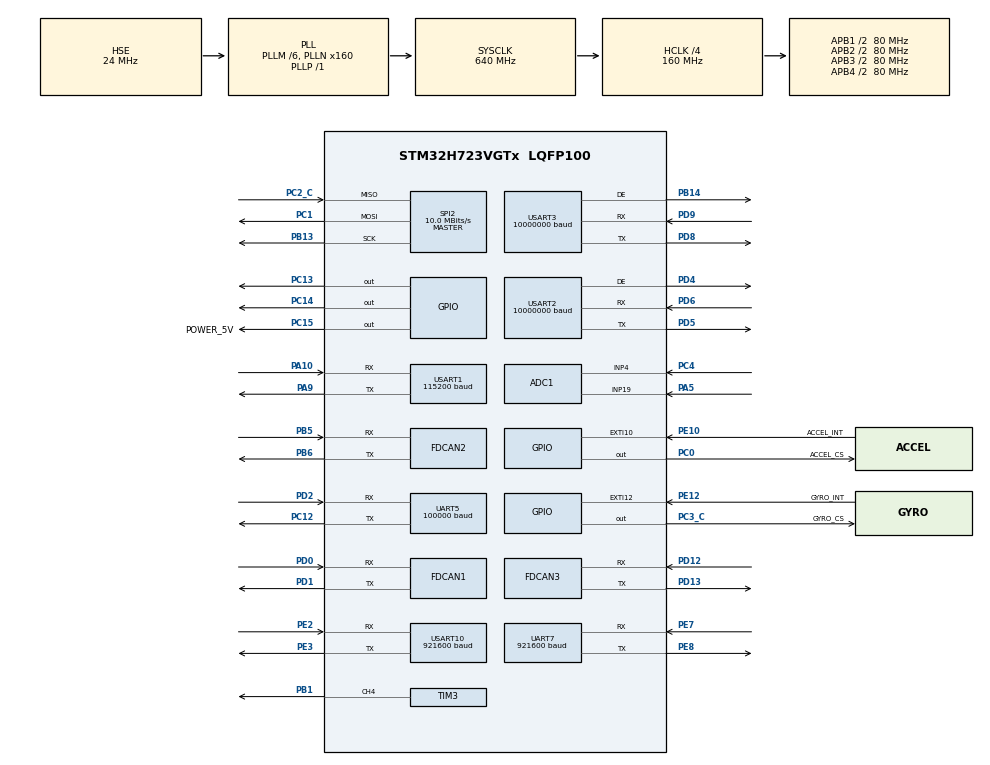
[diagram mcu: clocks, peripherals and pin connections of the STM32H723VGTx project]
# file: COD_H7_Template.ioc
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ADC1.Channel-2\#ChannelRegularConversion=ADC_CHANNEL_4
ADC1.ClockPrescaler=ADC_CLOCK_ASYNC_DIV64
ADC1.ClockPrescalerADC3=ADC_CLOCK_ASYNC_DIV64
ADC1.ContinuousConvMode=ENABLE
ADC1.ConversionDataManagement=ADC_CONVERSIONDATA_DMA_CIRCULAR
ADC1.NbrOfConversion=1
ADC1.NbrOfConversionFlag=1
ADC1.OffsetNumber-2\#ChannelRegularConversion=ADC_OFFSET_NONE
ADC1.OffsetSignedSaturation-2\#ChannelRegularConversion=DISABLE
ADC1.Rank-2\#ChannelRegularConversion=1
ADC1.SamplingTime-2\#ChannelRegularConversion=ADC_SAMPLETIME_32CYCLES_5
ADC1.master=1
ADC3.Channel-0\#ChannelRegularConversion=ADC_CHANNEL_TEMPSENSOR
ADC3.ClockPrescalerADC3=ADC_CLOCK_ASYNC_DIV64
ADC3.DiscontinuousConvMode=ENABLE
ADC3.NbrOfConversionFlag=1
ADC3.OffsetNumber-0\#ChannelRegularConversion=ADC_OFFSET_NONE
ADC3.OffsetSign-0\#ChannelRegularConversion=ADC3_OFFSET_SIGN_NEGATIVE
ADC3.Rank-0\#ChannelRegularConversion=1
ADC3.SamplingTime-0\#ChannelRegularConversion=ADC3_SAMPLETIME_2CYCLES_5
Bdma.ADC3.0.Direction=DMA_PERIPH_TO_MEMORY
Bdma.ADC3.0.EventEnable=DISABLE
Bdma.ADC3.0.Instance=BDMA_Channel0
Bdma.ADC3.0.MemDataAlignment=DMA_MDATAALIGN_HALFWORD
Bdma.ADC3.0.MemInc=DMA_MINC_ENABLE
Bdma.ADC3.0.Mode=DMA_CIRCULAR
Bdma.ADC3.0.PeriphDataAlignment=DMA_PDATAALIGN_HALFWORD
Bdma.ADC3.0.PeriphInc=DMA_PINC_DISABLE
Bdma.ADC3.0.Polarity=HAL_DMAMUX_REQ_GEN_RISING
Bdma.ADC3.0.Priority=DMA_PRIORITY_LOW
Bdma.ADC3.0.RequestNumber=1
Bdma.ADC3.0.SignalID=NONE
Bdma.ADC3.0.SyncEnable=DISABLE
Bdma.ADC3.0.SyncPolarity=HAL_DMAMUX_SYNC_NO_EVENT
Bdma.ADC3.0.SyncRequestNumber=1
Bdma.ADC3.0.SyncSignalID=NONE
Bdma.Request0=ADC3
Bdma.RequestsNb=1
CORTEX_M7.AccessPermission-Cortex_Memory_Protection_Unit_Region0_Settings=MPU_REGION_FULL_ACCESS
CORTEX_M7.AccessPermission_Spec=MPU_REGION_FULL_ACCESS
CORTEX_M7.BaseAddress-Cortex_Memory_Protection_Unit_Region0_Settings=0x24000000
CORTEX_M7.BaseAddress_Spec=0x24000000
CORTEX_M7.CPU_DCache=Enabled
CORTEX_M7.CPU_ICache=Enabled
CORTEX_M7.DisableExec_Spec=MPU_INSTRUCTION_ACCESS_ENABLE
CORTEX_M7.Enable-Cortex_Memory_Protection_Unit_Region0_Settings=MPU_REGION_ENABLE
CORTEX_M7.IsBufferable_Spec=MPU_ACCESS_NOT_BUFFERABLE
CORTEX_M7.IsCacheable_Spec=MPU_ACCESS_NOT_CACHEABLE
CORTEX_M7.IsShareable_Spec=MPU_ACCESS_NOT_SHAREABLE
CORTEX_M7.MPU_Control=MPU_HFNMI_PRIVDEF
CORTEX_M7.Size-Cortex_Memory_Protection_Unit_Region0_Settings=MPU_REGION_SIZE_512KB
CORTEX_M7.Size_Spec=MPU_REGION_SIZE_512KB
CORTEX_M7.SubRegionDisable_Spec=0x0
CORTEX_M7.TypeExtField-Cortex_Memory_Protection_Unit_Region0_Settings=MPU_TEX_LEVEL1
CORTEX_M7.TypeExtField_Spec=MPU_TEX_LEVEL1
CORTEX_M7.default_mode_Activation=1
Dma.ADC1.14.Direction=DMA_PERIPH_TO_MEMORY
Dma.ADC1.14.EventEnable=DISABLE
Dma.ADC1.14.FIFOMode=DMA_FIFOMODE_DISABLE
Dma.ADC1.14.Instance=DMA2_Stream6
Dma.ADC1.14.MemDataAlignment=DMA_MDATAALIGN_HALFWORD
Dma.ADC1.14.MemInc=DMA_MINC_ENABLE
Dma.ADC1.14.Mode=DMA_CIRCULAR
Dma.ADC1.14.PeriphDataAlignment=DMA_PDATAALIGN_HALFWORD
Dma.ADC1.14.PeriphInc=DMA_PINC_DISABLE
Dma.ADC1.14.Polarity=HAL_DMAMUX_REQ_GEN_RISING
Dma.ADC1.14.Priority=DMA_PRIORITY_LOW
Dma.ADC1.14.RequestNumber=1
Dma.ADC1.14.SignalID=NONE
Dma.ADC1.14.SyncEnable=DISABLE
Dma.ADC1.14.SyncPolarity=HAL_DMAMUX_SYNC_NO_EVENT
Dma.ADC1.14.SyncRequestNumber=1
Dma.ADC1.14.SyncSignalID=NONE
Dma.MEMTOMEM.11.Direction=DMA_MEMORY_TO_MEMORY
Dma.MEMTOMEM.11.EventEnable=DISABLE
Dma.MEMTOMEM.11.FIFOMode=DMA_FIFOMODE_ENABLE
Dma.MEMTOMEM.11.FIFOThreshold=DMA_FIFO_THRESHOLD_FULL
Dma.MEMTOMEM.11.Instance=DMA1_Stream0
Dma.MEMTOMEM.11.MemBurst=DMA_MBURST_SINGLE
Dma.MEMTOMEM.11.MemDataAlignment=DMA_MDATAALIGN_BYTE
Dma.MEMTOMEM.11.MemInc=DMA_MINC_ENABLE
Dma.MEMTOMEM.11.Mode=DMA_NORMAL
Dma.MEMTOMEM.11.PeriphBurst=DMA_PBURST_SINGLE
Dma.MEMTOMEM.11.PeriphDataAlignment=DMA_PDATAALIGN_BYTE
Dma.MEMTOMEM.11.PeriphInc=DMA_PINC_ENABLE
Dma.MEMTOMEM.11.Polarity=HAL_DMAMUX_REQ_GEN_RISING
Dma.MEMTOMEM.11.Priority=DMA_PRIORITY_LOW
Dma.MEMTOMEM.11.RequestNumber=1
Dma.MEMTOMEM.11.SignalID=NONE
Dma.MEMTOMEM.11.SyncEnable=DISABLE
Dma.MEMTOMEM.11.SyncPolarity=HAL_DMAMUX_SYNC_NO_EVENT
Dma.MEMTOMEM.11.SyncRequestNumber=1
Dma.MEMTOMEM.11.SyncSignalID=NONE
Dma.Request0=UART5_RX
Dma.Request1=SPI2_RX
Dma.Request10=USART3_TX
Dma.Request11=MEMTOMEM
Dma.Request12=USART10_RX
Dma.Request13=USART10_TX
Dma.Request14=ADC1
Dma.Request2=SPI2_TX
Dma.Request3=UART7_RX
Dma.Request4=UART7_TX
Dma.Request5=USART1_RX
Dma.Request6=USART1_TX
Dma.Request7=USART2_RX
Dma.Request8=USART2_TX
Dma.Request9=USART3_RX
Dma.SPI2_RX.1.Direction=DMA_PERIPH_TO_MEMORY
Dma.SPI2_RX.1.EventEnable=DISABLE
Dma.SPI2_RX.1.FIFOMode=DMA_FIFOMODE_DISABLE
Dma.SPI2_RX.1.Instance=DMA1_Stream1
Dma.SPI2_RX.1.MemDataAlignment=DMA_MDATAALIGN_BYTE
Dma.SPI2_RX.1.MemInc=DMA_MINC_ENABLE
Dma.SPI2_RX.1.Mode=DMA_NORMAL
Dma.SPI2_RX.1.PeriphDataAlignment=DMA_PDATAALIGN_BYTE
Dma.SPI2_RX.1.PeriphInc=DMA_PINC_DISABLE
Dma.SPI2_RX.1.Polarity=HAL_DMAMUX_REQ_GEN_RISING
Dma.SPI2_RX.1.Priority=DMA_PRIORITY_VERY_HIGH
Dma.SPI2_RX.1.RequestNumber=1
Dma.SPI2_RX.1.SignalID=NONE
Dma.SPI2_RX.1.SyncEnable=DISABLE
Dma.SPI2_RX.1.SyncPolarity=HAL_DMAMUX_SYNC_NO_EVENT
Dma.SPI2_RX.1.SyncRequestNumber=1
Dma.SPI2_RX.1.SyncSignalID=NONE
Dma.SPI2_TX.2.Direction=DMA_MEMORY_TO_PERIPH
Dma.SPI2_TX.2.EventEnable=DISABLE
Dma.SPI2_TX.2.FIFOMode=DMA_FIFOMODE_DISABLE
Dma.SPI2_TX.2.Instance=DMA1_Stream2
Dma.SPI2_TX.2.MemDataAlignment=DMA_MDATAALIGN_BYTE
Dma.SPI2_TX.2.MemInc=DMA_MINC_ENABLE
Dma.SPI2_TX.2.Mode=DMA_NORMAL
Dma.SPI2_TX.2.PeriphDataAlignment=DMA_PDATAALIGN_BYTE
Dma.SPI2_TX.2.PeriphInc=DMA_PINC_DISABLE
Dma.SPI2_TX.2.Polarity=HAL_DMAMUX_REQ_GEN_RISING
Dma.SPI2_TX.2.Priority=DMA_PRIORITY_MEDIUM
Dma.SPI2_TX.2.RequestNumber=1
Dma.SPI2_TX.2.SignalID=NONE
Dma.SPI2_TX.2.SyncEnable=DISABLE
Dma.SPI2_TX.2.SyncPolarity=HAL_DMAMUX_SYNC_NO_EVENT
Dma.SPI2_TX.2.SyncRequestNumber=1
Dma.SPI2_TX.2.SyncSignalID=NONE
Dma.UART5_RX.0.Direction=DMA_PERIPH_TO_MEMORY
Dma.UART5_RX.0.EventEnable=DISABLE
Dma.UART5_RX.0.FIFOMode=DMA_FIFOMODE_DISABLE
Dma.UART5_RX.0.Instance=DMA2_Stream3
Dma.UART5_RX.0.MemDataAlignment=DMA_MDATAALIGN_BYTE
Dma.UART5_RX.0.MemInc=DMA_MINC_ENABLE
Dma.UART5_RX.0.Mode=DMA_CIRCULAR
Dma.UART5_RX.0.PeriphDataAlignment=DMA_PDATAALIGN_BYTE
Dma.UART5_RX.0.PeriphInc=DMA_PINC_DISABLE
Dma.UART5_RX.0.Polarity=HAL_DMAMUX_REQ_GEN_RISING
Dma.UART5_RX.0.Priority=DMA_PRIORITY_VERY_HIGH
Dma.UART5_RX.0.RequestNumber=1
Dma.UART5_RX.0.SignalID=NONE
Dma.UART5_RX.0.SyncEnable=DISABLE
Dma.UART5_RX.0.SyncPolarity=HAL_DMAMUX_SYNC_NO_EVENT
Dma.UART5_RX.0.SyncRequestNumber=1
Dma.UART5_RX.0.SyncSignalID=NONE
Dma.UART7_RX.3.Direction=DMA_PERIPH_TO_MEMORY
Dma.UART7_RX.3.EventEnable=DISABLE
Dma.UART7_RX.3.FIFOMode=DMA_FIFOMODE_DISABLE
Dma.UART7_RX.3.Instance=DMA1_Stream3
Dma.UART7_RX.3.MemDataAlignment=DMA_MDATAALIGN_BYTE
Dma.UART7_RX.3.MemInc=DMA_MINC_ENABLE
Dma.UART7_RX.3.Mode=DMA_NORMAL
Dma.UART7_RX.3.PeriphDataAlignment=DMA_PDATAALIGN_BYTE
Dma.UART7_RX.3.PeriphInc=DMA_PINC_DISABLE
Dma.UART7_RX.3.Polarity=HAL_DMAMUX_REQ_GEN_RISING
Dma.UART7_RX.3.Priority=DMA_PRIORITY_LOW
Dma.UART7_RX.3.RequestNumber=1
Dma.UART7_RX.3.SignalID=NONE
Dma.UART7_RX.3.SyncEnable=DISABLE
Dma.UART7_RX.3.SyncPolarity=HAL_DMAMUX_SYNC_NO_EVENT
Dma.UART7_RX.3.SyncRequestNumber=1
Dma.UART7_RX.3.SyncSignalID=NONE
Dma.UART7_TX.4.Direction=DMA_MEMORY_TO_PERIPH
Dma.UART7_TX.4.EventEnable=DISABLE
Dma.UART7_TX.4.FIFOMode=DMA_FIFOMODE_DISABLE
Dma.UART7_TX.4.Instance=DMA1_Stream4
Dma.UART7_TX.4.MemDataAlignment=DMA_MDATAALIGN_BYTE
Dma.UART7_TX.4.MemInc=DMA_MINC_ENABLE
Dma.UART7_TX.4.Mode=DMA_NORMAL
Dma.UART7_TX.4.PeriphDataAlignment=DMA_PDATAALIGN_BYTE
Dma.UART7_TX.4.PeriphInc=DMA_PINC_DISABLE
Dma.UART7_TX.4.Polarity=HAL_DMAMUX_REQ_GEN_RISING
Dma.UART7_TX.4.Priority=DMA_PRIORITY_LOW
Dma.UART7_TX.4.RequestNumber=1
Dma.UART7_TX.4.SignalID=NONE
Dma.UART7_TX.4.SyncEnable=DISABLE
Dma.UART7_TX.4.SyncPolarity=HAL_DMAMUX_SYNC_NO_EVENT
Dma.UART7_TX.4.SyncRequestNumber=1
Dma.UART7_TX.4.SyncSignalID=NONE
Dma.USART10_RX.12.Direction=DMA_PERIPH_TO_MEMORY
Dma.USART10_RX.12.EventEnable=DISABLE
Dma.USART10_RX.12.FIFOMode=DMA_FIFOMODE_DISABLE
Dma.USART10_RX.12.Instance=DMA2_Stream4
Dma.USART10_RX.12.MemDataAlignment=DMA_MDATAALIGN_BYTE
Dma.USART10_RX.12.MemInc=DMA_MINC_ENABLE
Dma.USART10_RX.12.Mode=DMA_NORMAL
Dma.USART10_RX.12.PeriphDataAlignment=DMA_PDATAALIGN_BYTE
Dma.USART10_RX.12.PeriphInc=DMA_PINC_DISABLE
Dma.USART10_RX.12.Polarity=HAL_DMAMUX_REQ_GEN_RISING
Dma.USART10_RX.12.Priority=DMA_PRIORITY_VERY_HIGH
Dma.USART10_RX.12.RequestNumber=1
Dma.USART10_RX.12.SignalID=NONE
Dma.USART10_RX.12.SyncEnable=DISABLE
Dma.USART10_RX.12.SyncPolarity=HAL_DMAMUX_SYNC_NO_EVENT
Dma.USART10_RX.12.SyncRequestNumber=1
Dma.USART10_RX.12.SyncSignalID=NONE
Dma.USART10_TX.13.Direction=DMA_MEMORY_TO_PERIPH
Dma.USART10_TX.13.EventEnable=DISABLE
Dma.USART10_TX.13.FIFOMode=DMA_FIFOMODE_DISABLE
Dma.USART10_TX.13.Instance=DMA2_Stream5
Dma.USART10_TX.13.MemDataAlignment=DMA_MDATAALIGN_BYTE
Dma.USART10_TX.13.MemInc=DMA_MINC_ENABLE
Dma.USART10_TX.13.Mode=DMA_CIRCULAR
Dma.USART10_TX.13.PeriphDataAlignment=DMA_PDATAALIGN_BYTE
Dma.USART10_TX.13.PeriphInc=DMA_PINC_DISABLE
Dma.USART10_TX.13.Polarity=HAL_DMAMUX_REQ_GEN_RISING
Dma.USART10_TX.13.Priority=DMA_PRIORITY_VERY_HIGH
Dma.USART10_TX.13.RequestNumber=1
Dma.USART10_TX.13.SignalID=NONE
Dma.USART10_TX.13.SyncEnable=DISABLE
Dma.USART10_TX.13.SyncPolarity=HAL_DMAMUX_SYNC_NO_EVENT
Dma.USART10_TX.13.SyncRequestNumber=1
Dma.USART10_TX.13.SyncSignalID=NONE
Dma.USART1_RX.5.Direction=DMA_PERIPH_TO_MEMORY
Dma.USART1_RX.5.EventEnable=DISABLE
Dma.USART1_RX.5.FIFOMode=DMA_FIFOMODE_DISABLE
Dma.USART1_RX.5.Instance=DMA1_Stream5
Dma.USART1_RX.5.MemDataAlignment=DMA_MDATAALIGN_BYTE
Dma.USART1_RX.5.MemInc=DMA_MINC_ENABLE
Dma.USART1_RX.5.Mode=DMA_NORMAL
Dma.USART1_RX.5.PeriphDataAlignment=DMA_PDATAALIGN_BYTE
Dma.USART1_RX.5.PeriphInc=DMA_PINC_DISABLE
Dma.USART1_RX.5.Polarity=HAL_DMAMUX_REQ_GEN_RISING
Dma.USART1_RX.5.Priority=DMA_PRIORITY_VERY_HIGH
Dma.USART1_RX.5.RequestNumber=1
Dma.USART1_RX.5.SignalID=NONE
Dma.USART1_RX.5.SyncEnable=DISABLE
Dma.USART1_RX.5.SyncPolarity=HAL_DMAMUX_SYNC_NO_EVENT
Dma.USART1_RX.5.SyncRequestNumber=1
Dma.USART1_RX.5.SyncSignalID=NONE
Dma.USART1_TX.6.Direction=DMA_MEMORY_TO_PERIPH
Dma.USART1_TX.6.EventEnable=DISABLE
Dma.USART1_TX.6.FIFOMode=DMA_FIFOMODE_DISABLE
Dma.USART1_TX.6.Instance=DMA1_Stream6
Dma.USART1_TX.6.MemDataAlignment=DMA_MDATAALIGN_BYTE
Dma.USART1_TX.6.MemInc=DMA_MINC_ENABLE
Dma.USART1_TX.6.Mode=DMA_NORMAL
Dma.USART1_TX.6.PeriphDataAlignment=DMA_PDATAALIGN_BYTE
Dma.USART1_TX.6.PeriphInc=DMA_PINC_DISABLE
Dma.USART1_TX.6.Polarity=HAL_DMAMUX_REQ_GEN_RISING
Dma.USART1_TX.6.Priority=DMA_PRIORITY_VERY_HIGH
Dma.USART1_TX.6.RequestNumber=1
Dma.USART1_TX.6.SignalID=NONE
Dma.USART1_TX.6.SyncEnable=DISABLE
Dma.USART1_TX.6.SyncPolarity=HAL_DMAMUX_SYNC_NO_EVENT
Dma.USART1_TX.6.SyncRequestNumber=1
Dma.USART1_TX.6.SyncSignalID=NONE
Dma.USART2_RX.7.Direction=DMA_PERIPH_TO_MEMORY
Dma.USART2_RX.7.EventEnable=DISABLE
Dma.USART2_RX.7.FIFOMode=DMA_FIFOMODE_DISABLE
Dma.USART2_RX.7.Instance=DMA1_Stream7
Dma.USART2_RX.7.MemDataAlignment=DMA_MDATAALIGN_BYTE
Dma.USART2_RX.7.MemInc=DMA_MINC_ENABLE
Dma.USART2_RX.7.Mode=DMA_CIRCULAR
Dma.USART2_RX.7.PeriphDataAlignment=DMA_PDATAALIGN_BYTE
Dma.USART2_RX.7.PeriphInc=DMA_PINC_DISABLE
Dma.USART2_RX.7.Polarity=HAL_DMAMUX_REQ_GEN_RISING
Dma.USART2_RX.7.Priority=DMA_PRIORITY_MEDIUM
Dma.USART2_RX.7.RequestNumber=1
Dma.USART2_RX.7.SignalID=NONE
Dma.USART2_RX.7.SyncEnable=DISABLE
Dma.USART2_RX.7.SyncPolarity=HAL_DMAMUX_SYNC_NO_EVENT
Dma.USART2_RX.7.SyncRequestNumber=1
Dma.USART2_RX.7.SyncSignalID=NONE
Dma.USART2_TX.8.Direction=DMA_MEMORY_TO_PERIPH
Dma.USART2_TX.8.EventEnable=DISABLE
Dma.USART2_TX.8.FIFOMode=DMA_FIFOMODE_DISABLE
Dma.USART2_TX.8.Instance=DMA2_Stream0
Dma.USART2_TX.8.MemDataAlignment=DMA_MDATAALIGN_BYTE
Dma.USART2_TX.8.MemInc=DMA_MINC_ENABLE
Dma.USART2_TX.8.Mode=DMA_NORMAL
Dma.USART2_TX.8.PeriphDataAlignment=DMA_PDATAALIGN_BYTE
Dma.USART2_TX.8.PeriphInc=DMA_PINC_DISABLE
Dma.USART2_TX.8.Polarity=HAL_DMAMUX_REQ_GEN_RISING
Dma.USART2_TX.8.Priority=DMA_PRIORITY_MEDIUM
Dma.USART2_TX.8.RequestNumber=1
Dma.USART2_TX.8.SignalID=NONE
Dma.USART2_TX.8.SyncEnable=DISABLE
Dma.USART2_TX.8.SyncPolarity=HAL_DMAMUX_SYNC_NO_EVENT
Dma.USART2_TX.8.SyncRequestNumber=1
Dma.USART2_TX.8.SyncSignalID=NONE
Dma.USART3_RX.9.Direction=DMA_PERIPH_TO_MEMORY
Dma.USART3_RX.9.EventEnable=DISABLE
Dma.USART3_RX.9.FIFOMode=DMA_FIFOMODE_DISABLE
Dma.USART3_RX.9.Instance=DMA2_Stream1
Dma.USART3_RX.9.MemDataAlignment=DMA_MDATAALIGN_BYTE
Dma.USART3_RX.9.MemInc=DMA_MINC_ENABLE
Dma.USART3_RX.9.Mode=DMA_NORMAL
Dma.USART3_RX.9.PeriphDataAlignment=DMA_PDATAALIGN_BYTE
Dma.USART3_RX.9.PeriphInc=DMA_PINC_DISABLE
Dma.USART3_RX.9.Polarity=HAL_DMAMUX_REQ_GEN_RISING
Dma.USART3_RX.9.Priority=DMA_PRIORITY_MEDIUM
Dma.USART3_RX.9.RequestNumber=1
Dma.USART3_RX.9.SignalID=NONE
Dma.USART3_RX.9.SyncEnable=DISABLE
Dma.USART3_RX.9.SyncPolarity=HAL_DMAMUX_SYNC_NO_EVENT
Dma.USART3_RX.9.SyncRequestNumber=1
Dma.USART3_RX.9.SyncSignalID=NONE
Dma.USART3_TX.10.Direction=DMA_MEMORY_TO_PERIPH
Dma.USART3_TX.10.EventEnable=DISABLE
Dma.USART3_TX.10.FIFOMode=DMA_FIFOMODE_DISABLE
Dma.USART3_TX.10.Instance=DMA2_Stream2
Dma.USART3_TX.10.MemDataAlignment=DMA_MDATAALIGN_BYTE
Dma.USART3_TX.10.MemInc=DMA_MINC_ENABLE
Dma.USART3_TX.10.Mode=DMA_NORMAL
Dma.USART3_TX.10.PeriphDataAlignment=DMA_PDATAALIGN_BYTE
Dma.USART3_TX.10.PeriphInc=DMA_PINC_DISABLE
Dma.USART3_TX.10.Polarity=HAL_DMAMUX_REQ_GEN_RISING
Dma.USART3_TX.10.Priority=DMA_PRIORITY_MEDIUM
Dma.USART3_TX.10.RequestNumber=1
Dma.USART3_TX.10.SignalID=NONE
Dma.USART3_TX.10.SyncEnable=DISABLE
Dma.USART3_TX.10.SyncPolarity=HAL_DMAMUX_SYNC_NO_EVENT
Dma.USART3_TX.10.SyncRequestNumber=1
Dma.USART3_TX.10.SyncSignalID=NONE
FDCAN1.AutoRetransmission=DISABLE
FDCAN1.CalculateBaudRateNominal=1000000
FDCAN1.CalculateTimeBitNominal=1000
FDCAN1.CalculateTimeQuantumNominal=50.0
FDCAN1.ClockCalibrationCCU=DISABLE
FDCAN1.DataPrescaler=5
FDCAN1.DataSyncJumpWidth=5
FDCAN1.DataTimeSeg1=14
FDCAN1.DataTimeSeg2=5
FDCAN1.ExtFiltersNbr=0
FDCAN1.FrameFormat=FDCAN_FRAME_CLASSIC
FDCAN1.NominalPrescaler=5
FDCAN1.NominalSyncJumpWidth=5
FDCAN1.NominalTimeSeg1=14
FDCAN1.NominalTimeSeg2=5
FDCAN1.ProtocolException=ENABLE
FDCAN1.RxBufferSize=FDCAN_DATA_BYTES_8
FDCAN1.RxFifo0ElmtSize=FDCAN_DATA_BYTES_8
FDCAN1.RxFifo0ElmtsNbr=8
FDCAN1.RxFifo1ElmtSize=FDCAN_DATA_BYTES_8
FDCAN1.StdFiltersNbr=1
FDCAN1.TransmitPause=DISABLE
FDCAN1.TxElmtSize=FDCAN_DATA_BYTES_8
FDCAN1.TxFifoQueueElmtsNbr=8
FDCAN1.TxFifoQueueMode=FDCAN_TX_FIFO_OPERATION
FDCAN2.CalculateBaudRateNominal=1000000
FDCAN2.CalculateTimeBitNominal=1000
FDCAN2.CalculateTimeQuantumNominal=50.0
FDCAN2.DataPrescaler=1
FDCAN2.DataSyncJumpWidth=5
FDCAN2.DataTimeSeg1=14
FDCAN2.DataTimeSeg2=5
FDCAN2.FrameFormat=FDCAN_FRAME_FD_BRS
FDCAN2.MessageRAMOffset=853
FDCAN2.NominalPrescaler=5
FDCAN2.NominalSyncJumpWidth=5
FDCAN2.NominalTimeSeg1=14
FDCAN2.NominalTimeSeg2=5
FDCAN2.ProtocolException=ENABLE
FDCAN2.RxFifo0ElmtsNbr=0
FDCAN2.RxFifo1ElmtsNbr=8
FDCAN2.StdFiltersNbr=1
FDCAN2.TxFifoQueueElmtsNbr=8
FDCAN3.CalculateBaudRateNominal=1000000
FDCAN3.CalculateTimeBitNominal=1000
FDCAN3.CalculateTimeQuantumNominal=50.0
FDCAN3.DataPrescaler=5
FDCAN3.DataSyncJumpWidth=5
FDCAN3.DataTimeSeg1=14
FDCAN3.DataTimeSeg2=5
FDCAN3.FrameFormat=FDCAN_FRAME_CLASSIC
FDCAN3.MessageRAMOffset=1706
FDCAN3.NominalPrescaler=5
FDCAN3.NominalSyncJumpWidth=5
FDCAN3.NominalTimeSeg1=14
FDCAN3.NominalTimeSeg2=5
FDCAN3.ProtocolException=ENABLE
FDCAN3.RxFifo0ElmtsNbr=8
FDCAN3.StdFiltersNbr=1
FDCAN3.TxFifoQueueElmtsNbr=8
FREERTOS.INCLUDE_vTaskDelayUntil=1
FREERTOS.Tasks01=StartINS_Task,2,1024,INS_Task,As weak,NULL,Static,StartINS_TaskBuffer,StartINS_TaskControlBlock;StartCAN_Task,0,1024,CAN_Task,As weak,NULL,Static,StartCAN_TaskBuffer,StartCAN_TaskControlBlock;StartControl_Task,1,1024,Control_Task,As weak,NULL,Static,StartControlBuffer,StartControlControlBlock;StartMPC_Task,-1,1024,MPC_Task,As weak,NULL,Static,StartMPC_TaskBuffer,StartMPC_TaskControlBlock
FREERTOS.configMAX_TASK_NAME_LEN=32
FREERTOS.configMINIMAL_STACK_SIZE=1024
FREERTOS.configUSE_TRACE_FACILITY=1
Mcu.Family=STM32H7
Mcu.Name=STM32H723VGTx
Mcu.Package=LQFP100
NVIC.BDMA_Channel0_IRQn=true\:5\:0\:false\:false\:true\:true\:false\:true\:true
NVIC.DMA1_Stream0_IRQn=true\:5\:0\:false\:false\:true\:true\:false\:true\:true
NVIC.DMA1_Stream1_IRQn=true\:5\:0\:false\:false\:true\:true\:false\:true\:true
NVIC.DMA1_Stream2_IRQn=true\:5\:0\:false\:false\:true\:true\:false\:true\:true
NVIC.DMA1_Stream3_IRQn=true\:5\:0\:false\:false\:true\:true\:false\:true\:true
NVIC.DMA1_Stream4_IRQn=true\:5\:0\:false\:false\:true\:true\:false\:true\:true
NVIC.DMA1_Stream5_IRQn=true\:5\:0\:false\:false\:true\:true\:false\:true\:true
NVIC.DMA1_Stream6_IRQn=true\:5\:0\:false\:false\:true\:true\:false\:true\:true
NVIC.DMA1_Stream7_IRQn=true\:5\:0\:false\:false\:true\:true\:false\:true\:true
NVIC.DMA2_Stream0_IRQn=true\:5\:0\:false\:false\:true\:true\:false\:true\:true
NVIC.DMA2_Stream1_IRQn=true\:5\:0\:false\:false\:true\:true\:false\:true\:true
NVIC.DMA2_Stream2_IRQn=true\:5\:0\:false\:false\:true\:true\:false\:true\:true
NVIC.DMA2_Stream3_IRQn=true\:5\:0\:false\:false\:true\:true\:false\:true\:true
NVIC.DMA2_Stream4_IRQn=true\:5\:0\:false\:false\:true\:true\:false\:true\:true
NVIC.DMA2_Stream5_IRQn=true\:5\:0\:false\:false\:true\:true\:false\:true\:true
NVIC.DMA2_Stream6_IRQn=true\:5\:0\:false\:false\:true\:true\:false\:true\:true
NVIC.FDCAN1_IT0_IRQn=true\:5\:0\:false\:false\:true\:true\:true\:true\:true
NVIC.FDCAN2_IT0_IRQn=true\:5\:0\:false\:false\:true\:true\:true\:true\:true
NVIC.FDCAN2_IT1_IRQn=true\:5\:0\:false\:false\:true\:true\:true\:true\:true
NVIC.FDCAN3_IT0_IRQn=true\:5\:0\:false\:false\:true\:true\:true\:true\:true
NVIC.FDCAN3_IT1_IRQn=true\:5\:0\:false\:false\:true\:true\:true\:true\:true
NVIC.PriorityGroup=NVIC_PRIORITYGROUP_4
NVIC.SPI2_IRQn=true\:5\:0\:true\:false\:true\:true\:false\:true\:true
NVIC.TIM2_IRQn=true\:15\:0\:false\:false\:true\:false\:false\:true\:true
NVIC.TimeBase=TIM2_IRQn
NVIC.TimeBaseIP=TIM2
NVIC.UART5_IRQn=true\:5\:0\:false\:false\:true\:true\:true\:true\:true
NVIC.UART7_IRQn=true\:5\:0\:false\:false\:true\:true\:true\:true\:true
NVIC.USART10_IRQn=true\:5\:0\:false\:false\:true\:true\:true\:true\:true
NVIC.USART1_IRQn=true\:5\:0\:false\:false\:true\:true\:true\:true\:true
NVIC.USART2_IRQn=true\:5\:0\:false\:false\:true\:true\:true\:true\:true
NVIC.USART3_IRQn=true\:5\:0\:false\:false\:true\:true\:true\:true\:true
PA10.Mode=Asynchronous
PA10.Signal=USART1_RX
PA5.Signal=ADCx_INP19
PA9.Mode=Asynchronous
PA9.Signal=USART1_TX
PB1.Signal=S_TIM3_CH4
PB13.GPIO_Speed=GPIO_SPEED_FREQ_VERY_HIGH
PB13.Mode=Full_Duplex_Master
PB13.Signal=SPI2_SCK
PB14.Mode=Hardware Flow Control (RS485)
PB14.Signal=USART3_DE
PB5.Mode=FDCAN_Activate
PB5.Signal=FDCAN2_RX
PB6.GPIO_FM6=__NULL
PB6.Mode=FDCAN_Activate
PB6.Signal=FDCAN2_TX
PC0.GPIO_Label=ACCEL_CS
PC0.GPIO_PuPd=GPIO_NOPULL
PC0.GPIO_Speed=GPIO_SPEED_FREQ_MEDIUM
PC0.PinState=GPIO_PIN_SET
PC0.Signal=GPIO_Output
PC1.GPIO_Speed=GPIO_SPEED_FREQ_VERY_HIGH
PC1.Mode=Full_Duplex_Master
PC1.Signal=SPI2_MOSI
PC12.Mode=Asynchronous
PC12.Signal=UART5_TX
PC13.PinState=GPIO_PIN_RESET
PC13.Signal=GPIO_Output
PC14-OSC32_IN.Signal=GPIO_Output
PC15-OSC32_OUT.GPIO_Label=POWER_5V
PC15-OSC32_OUT.PinState=GPIO_PIN_SET
PC15-OSC32_OUT.Signal=GPIO_Output
PC2_C.GPIO_Speed=GPIO_SPEED_FREQ_VERY_HIGH
PC2_C.Mode=Full_Duplex_Master
PC2_C.Signal=SPI2_MISO
PC3_C.GPIO_Label=GYRO_CS
PC3_C.GPIO_PuPd=GPIO_NOPULL
PC3_C.GPIO_Speed=GPIO_SPEED_FREQ_MEDIUM
PC3_C.PinState=GPIO_PIN_SET
PC3_C.Signal=GPIO_Output
PC4.Signal=ADCx_INP4
PD0.Mode=FDCAN_Activate
PD0.Signal=FDCAN1_RX
PD1.Mode=FDCAN_Activate
PD1.Signal=FDCAN1_TX
PD12.Mode=FDCAN_Activate
PD12.Signal=FDCAN3_RX
PD13.Mode=FDCAN_Activate
PD13.Signal=FDCAN3_TX
PD2.GPIO_Speed=GPIO_SPEED_FREQ_VERY_HIGH
PD2.Mode=Asynchronous
PD2.Signal=UART5_RX
PD4.Mode=Hardware Flow Control (RS485)
PD4.Signal=USART2_DE
PD5.Mode=Asynchronous
PD5.Signal=USART2_TX
PD6.Mode=Asynchronous
PD6.Signal=USART2_RX
PD8.Mode=Asynchronous
PD8.Signal=USART3_TX
PD9.Mode=Asynchronous
PD9.Signal=USART3_RX
PE10.GPIO_Label=ACCEL_INT
PE10.GPIO_PuPd=GPIO_NOPULL
PE10.Signal=GPXTI10
PE12.GPIO_Label=GYRO_INT
PE12.GPIO_PuPd=GPIO_NOPULL
PE12.Signal=GPXTI12
PE2.Mode=Asynchronous
PE2.Signal=USART10_RX
PE3.Mode=Asynchronous
PE3.Signal=USART10_TX
PE7.Mode=Asynchronous
PE7.Signal=UART7_RX
PE8.Mode=Asynchronous
PE8.Signal=UART7_TX
PH0-OSC_IN.Mode=HSE-External-Oscillator
PH0-OSC_IN.Signal=RCC_OSC_IN
PH1-OSC_OUT.Mode=HSE-External-Oscillator
PH1-OSC_OUT.Signal=RCC_OSC_OUT
ProjectManager.HeapSize=0x2000
ProjectManager.StackSize=0x4000
ProjectManager.TargetToolchain=MDK-ARM V5.32
RCC.ADCCLockSelection=RCC_ADCCLKSOURCE_CLKP
RCC.ADCFreq_Value=64000000
RCC.APB1Freq_Value=80000000
RCC.APB2Freq_Value=80000000
RCC.APB3Freq_Value=80000000
RCC.APB4Freq_Value=80000000
RCC.CortexFreq_Value=640000000
RCC.D1PPRE=RCC_APB3_DIV2
RCC.D2PPRE1=RCC_APB1_DIV2
RCC.D2PPRE2=RCC_APB2_DIV2
RCC.D3PPRE=RCC_APB4_DIV2
RCC.DIVM1=6
RCC.DIVM2=24
RCC.DIVM3=24
RCC.DIVN1=160
RCC.DIVN2=200
RCC.DIVN3=160
RCC.DIVP1=1
RCC.DIVQ1=4
RCC.EnbaleCSS=false
RCC.FDCANCLockSelection=RCC_FDCANCLKSOURCE_PLL2
RCC.FLatency-AdvancedSettings=FLASH_LATENCY_2
RCC.HCLKFreq_Value=160000000
RCC.HPRE=RCC_HCLK_DIV4
RCC.HSE_VALUE=24000000
RCC.PLL1_VCI_Range-AdvancedSettings=RCC_PLL1VCIRANGE_0
RCC.PLL1_VCO_SEL-AdvancedSettings=RCC_PLL1VCOMEDIUM
RCC.PLL2FRACN=0
RCC.PLL2_VCO_SEL-AdvancedSettings=RCC_PLL2VCOWIDE
RCC.PLL3FRACN=0
RCC.PLL3_VCO_SEL-AdvancedSettings=RCC_PLL3VCOWIDE
RCC.PLLFRACN=0
RCC.PLLSourceVirtual=RCC_PLLSOURCE_HSE
RCC.SPI123CLockSelection=RCC_SPI123CLKSOURCE_PLL3
RCC.SYSCLKFreq_VALUE=640000000
RCC.SYSCLKSource=RCC_SYSCLKSOURCE_PLLCLK
RCC.USART16CLockSelection=RCC_USART16910CLKSOURCE_PLL2
RCC.USBFreq_Value=160000000
SH.ADCx_INP19.0=ADC1_INP19,IN19-Single-Ended
SH.ADCx_INP4.0=ADC1_INP4,IN4-Single-Ended
SH.S_TIM3_CH4.0=TIM3_CH4,PWM Generation4 CH4
SPI2.BaudRatePrescaler=SPI_BAUDRATEPRESCALER_8
SPI2.CLKPhase=SPI_PHASE_2EDGE
SPI2.CLKPolarity=SPI_POLARITY_HIGH
SPI2.CalculateBaudRate=10.0 MBits/s
SPI2.DataSize=SPI_DATASIZE_8BIT
SPI2.Direction=SPI_DIRECTION_2LINES
SPI2.Mode=SPI_MODE_MASTER
SPI2.NSSPMode=SPI_NSS_PULSE_DISABLE
SPI2.VirtualType=VM_MASTER
STMicroelectronics.X-CUBE-ALGOBUILD.1.4.0.LibraryCcDSPOoLibraryJjDSPOoLibrary=true
TIM3.AutoReloadPreload=TIM_AUTORELOAD_PRELOAD_ENABLE
TIM3.Channel-PWM\ Generation4\ CH4=TIM_CHANNEL_4
TIM3.Period=20000
TIM3.Prescaler=160
UART5.BaudRate=100000
UART5.Parity=PARITY_EVEN
UART5.StopBits=UART_STOPBITS_2
UART5.WordLength=WORDLENGTH_9B
UART7.BaudRate=921600
USART1.BaudRate=115200
USART1.VirtualMode-Asynchronous=VM_ASYNC
USART10.BaudRate=921600
USART10.VirtualMode=VM_ASYNC
USART2.BaudRate=10000000
USART2.OverSampling=UART_OVERSAMPLING_8
USART2.VirtualMode-Asynchronous=VM_ASYNC
USART2.VirtualMode-Hardware\ Flow\ Control\ (RS485)=VM_ASYNC
USART3.BaudRate=10000000
USART3.OverSampling=UART_OVERSAMPLING_8
USART3.VirtualMode-Asynchronous=VM_ASYNC
USART3.VirtualMode-Hardware\ Flow\ Control\ (RS485)=VM_ASYNC
VP_ADC3_TempSens_Input.Mode=IN-TempSens
VP_FREERTOS_VS_CMSIS_V1.Mode=CMSIS_V1
VP_MEMORYMAP_VS_MEMORYMAP.Mode=CurAppReg
VP_STMicroelectronics.X-CUBE-ALGOBUILD_VS_DSPOoLibraryJjLibrary_1.4.0_1.4.0.Mode=DSPOoLibraryJjLibrary
VP_SYS_VS_tim2.Mode=TIM2
board=custom

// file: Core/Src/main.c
/* USER CODE BEGIN Header */
/**
  ******************************************************************************
  * @file           : main.c
  * @brief          : Main program body
  ******************************************************************************
  * @attention
  *
  * Copyright (c) 2024 STMicroelectronics.
  * All rights reserved.
  *
  * This software is licensed under terms that can be found in the LICENSE file
  * in the root directory of this software component.
  * If no LICENSE file comes with this software, it is provided AS-IS.
  *
  ******************************************************************************
  */
/* USER CODE END Header */
#include "main.h"
#include "cmsis_os.h"
#include "adc.h"
#include "bdma.h"
#include "dma.h"
#include "fdcan.h"
#include "memorymap.h"
#include "spi.h"
#include "tim.h"
#include "usart.h"
#include "gpio.h"

/* USER CODE BEGIN Includes */
#include "bsp_can.h"
#include "bsp_gpio.h"
#include "bsp_uart.h"
#include "remote_control.h"
#include "Bmi088.h"
#include "SEGGER_SYSVIEW.h"
/* USER CODE END Includes */

void SystemClock_Config(void);
void PeriphCommonClock_Config(void);
static void MPU_Config(void);
void MX_FREERTOS_Init(void);

int main(void)
{

  /* MPU Configuration--------------------------------------------------------*/
  MPU_Config();

  /* Enable the CPU Cache */

  /* Enable I-Cache---------------------------------------------------------*/
  SCB_EnableICache();

  /* Enable D-Cache---------------------------------------------------------*/
  SCB_EnableDCache();

  /* MCU Configuration--------------------------------------------------------*/

  /* Reset of all peripherals, Initializes the Flash interface and the Systick. */
  HAL_Init();

  /* Configure the system clock */
  SystemClock_Config();

  /* Configure the peripherals common clocks */
  PeriphCommonClock_Config();

  /* Initialize all configured peripherals */
  MX_GPIO_Init();
  MX_DMA_Init();
  MX_BDMA_Init();
  MX_FDCAN1_Init();
  MX_FDCAN2_Init();
  MX_UART5_Init();
  MX_SPI2_Init();
  MX_TIM3_Init();
  MX_UART7_Init();
  MX_USART1_UART_Init();
  MX_USART2_UART_Init();
  MX_USART3_UART_Init();
  MX_USART10_UART_Init();
  MX_FDCAN3_Init();
  MX_ADC3_Init();
  MX_ADC1_Init();
  /* USER CODE BEGIN 2 */

  BSP_GPIO_Init();
  BSP_USART_Init();
  HAL_Delay(200);
  BSP_FDCAN_Init();
	HAL_TIM_PWM_Start(&htim3, TIM_CHANNEL_4);
  BMI088_Init();
	SEGGER_SYSVIEW_Conf();
  HAL_Delay(200);

  /* USER CODE END 2 */

  /* Call init function for freertos objects (in cmsis_os2.c) */
  MX_FREERTOS_Init();

  /* Start scheduler */
  osKernelStart();

  /* We should never get here as control is now taken by the scheduler */

  /* Infinite loop */
  while (1)
  {

  }
}

void SystemClock_Config(void)
{
  RCC_OscInitTypeDef RCC_OscInitStruct = {0};
  RCC_ClkInitTypeDef RCC_ClkInitStruct = {0};

  /** Supply configuration update enable
  */
  HAL_PWREx_ConfigSupply(PWR_LDO_SUPPLY);

  /** Configure the main internal regulator output voltage
  */
  __HAL_PWR_VOLTAGESCALING_CONFIG(PWR_REGULATOR_VOLTAGE_SCALE1);

  while(!__HAL_PWR_GET_FLAG(PWR_FLAG_VOSRDY)) {}

  /** Initializes the RCC Oscillators according to the specified parameters
  * in the RCC_OscInitTypeDef structure.
  */
  RCC_OscInitStruct.OscillatorType = RCC_OSCILLATORTYPE_HSI|RCC_OSCILLATORTYPE_HSE;
  RCC_OscInitStruct.HSEState = RCC_HSE_ON;
  RCC_OscInitStruct.HSIState = RCC_HSI_DIV1;
  RCC_OscInitStruct.HSICalibrationValue = 64;
  RCC_OscInitStruct.PLL.PLLState = RCC_PLL_ON;
  RCC_OscInitStruct.PLL.PLLSource = RCC_PLLSOURCE_HSE;
  RCC_OscInitStruct.PLL.PLLM = 6;
  RCC_OscInitStruct.PLL.PLLN = 160;
  RCC_OscInitStruct.PLL.PLLP = 1;
  RCC_OscInitStruct.PLL.PLLQ = 4;
  RCC_OscInitStruct.PLL.PLLR = 2;
  RCC_OscInitStruct.PLL.PLLRGE = RCC_PLL1VCIRANGE_2;
  RCC_OscInitStruct.PLL.PLLVCOSEL = RCC_PLL1VCOWIDE;
  RCC_OscInitStruct.PLL.PLLFRACN = 0;
  if (HAL_RCC_OscConfig(&RCC_OscInitStruct) != HAL_OK)
  {
    Error_Handler();
  }

  /** Initializes the CPU, AHB and APB buses clocks
  */
  RCC_ClkInitStruct.ClockType = RCC_CLOCKTYPE_HCLK|RCC_CLOCKTYPE_SYSCLK
                              |RCC_CLOCKTYPE_PCLK1|RCC_CLOCKTYPE_PCLK2
                              |RCC_CLOCKTYPE_D3PCLK1|RCC_CLOCKTYPE_D1PCLK1;
  RCC_ClkInitStruct.SYSCLKSource = RCC_SYSCLKSOURCE_PLLCLK;
  RCC_ClkInitStruct.SYSCLKDivider = RCC_SYSCLK_DIV1;
  RCC_ClkInitStruct.AHBCLKDivider = RCC_HCLK_DIV4;
  RCC_ClkInitStruct.APB3CLKDivider = RCC_APB3_DIV2;
  RCC_ClkInitStruct.APB1CLKDivider = RCC_APB1_DIV2;
  RCC_ClkInitStruct.APB2CLKDivider = RCC_APB2_DIV2;
  RCC_ClkInitStruct.APB4CLKDivider = RCC_APB4_DIV2;

  if (HAL_RCC_ClockConfig(&RCC_ClkInitStruct, FLASH_LATENCY_2) != HAL_OK)
  {
    Error_Handler();
  }
}

void PeriphCommonClock_Config(void)
{
  RCC_PeriphCLKInitTypeDef PeriphClkInitStruct = {0};

  /** Initializes the peripherals clock
  */
  PeriphClkInitStruct.PeriphClockSelection = RCC_PERIPHCLK_FDCAN|RCC_PERIPHCLK_USART1
                              |RCC_PERIPHCLK_USART10|RCC_PERIPHCLK_CKPER;
  PeriphClkInitStruct.PLL2.PLL2M = 24;
  PeriphClkInitStruct.PLL2.PLL2N = 200;
  PeriphClkInitStruct.PLL2.PLL2P = 2;
  PeriphClkInitStruct.PLL2.PLL2Q = 2;
  PeriphClkInitStruct.PLL2.PLL2R = 2;
  PeriphClkInitStruct.PLL2.PLL2RGE = RCC_PLL2VCIRANGE_0;
  PeriphClkInitStruct.PLL2.PLL2VCOSEL = RCC_PLL2VCOMEDIUM;
  PeriphClkInitStruct.PLL2.PLL2FRACN = 0;
  PeriphClkInitStruct.CkperClockSelection = RCC_CLKPSOURCE_HSI;
  PeriphClkInitStruct.FdcanClockSelection = RCC_FDCANCLKSOURCE_PLL2;
  PeriphClkInitStruct.Usart16ClockSelection = RCC_USART16910CLKSOURCE_PLL2;
  if (HAL_RCCEx_PeriphCLKConfig(&PeriphClkInitStruct) != HAL_OK)
  {
    Error_Handler();
  }
}

 /* MPU Configuration */

void MPU_Config(void)
{
  MPU_Region_InitTypeDef MPU_InitStruct = {0};

  /* Disables the MPU */
  HAL_MPU_Disable();

  /** Initializes and configures the Region and the memory to be protected
  */
  MPU_InitStruct.Enable = MPU_REGION_ENABLE;
  MPU_InitStruct.Number = MPU_REGION_NUMBER0;
  MPU_InitStruct.BaseAddress = 0x24000000;
  MPU_InitStruct.Size = MPU_REGION_SIZE_512KB;
  MPU_InitStruct.SubRegionDisable = 0x0;
  MPU_InitStruct.TypeExtField = MPU_TEX_LEVEL1;
  MPU_InitStruct.AccessPermission = MPU_REGION_FULL_ACCESS;
  MPU_InitStruct.DisableExec = MPU_INSTRUCTION_ACCESS_ENABLE;
  MPU_InitStruct.IsShareable = MPU_ACCESS_NOT_SHAREABLE;
  MPU_InitStruct.IsCacheable = MPU_ACCESS_NOT_CACHEABLE;
  MPU_InitStruct.IsBufferable = MPU_ACCESS_NOT_BUFFERABLE;

  HAL_MPU_ConfigRegion(&MPU_InitStruct);
  /* Enables the MPU */
  HAL_MPU_Enable(MPU_HFNMI_PRIVDEF);

}

void HAL_TIM_PeriodElapsedCallback(TIM_HandleTypeDef *htim)
{
  if (htim->Instance == TIM2) {
    HAL_IncTick();
  }
}

void Error_Handler(void)
{
  __disable_irq();
  while (1)
  {
  }
}

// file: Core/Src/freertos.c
/* USER CODE BEGIN Header */
/**
  ******************************************************************************
  * File Name          : freertos.c
  * Description        : Code for freertos applications
  ******************************************************************************
  * @attention
  *
  * Copyright (c) 2024 STMicroelectronics.
  * All rights reserved.
  *
  * This software is licensed under terms that can be found in the LICENSE file
  * in the root directory of this software component.
  * If no LICENSE file comes with this software, it is provided AS-IS.
  *
  ******************************************************************************
  */
/* USER CODE END Header */

#include "FreeRTOS.h"
#include "task.h"
#include "main.h"
#include "cmsis_os.h"

/* USER CODE BEGIN Includes */
#include "SEGGER_SYSVIEW_FreeRTOS.h"

/* USER CODE END Includes */

osThreadId StartINS_TaskHandle;
uint32_t StartINS_TaskBuffer[ 1024 ];
osStaticThreadDef_t StartINS_TaskControlBlock;
osThreadId StartCAN_TaskHandle;
uint32_t StartCAN_TaskBuffer[ 1024 ];
osStaticThreadDef_t StartCAN_TaskControlBlock;
osThreadId StartControl_TaskHandle;
uint32_t StartControlBuffer[ 1024 ];
osStaticThreadDef_t StartControlControlBlock;
osThreadId StartMPC_TaskHandle;
uint32_t StartMPC_TaskBuffer[ 1024 ];
osStaticThreadDef_t StartMPC_TaskControlBlock;

void INS_Task(void const * argument);
void CAN_Task(void const * argument);
void Control_Task(void const * argument);
void MPC_Task(void const * argument);

void MX_FREERTOS_Init(void); /* (MISRA C 2004 rule 8.1) */

/* GetIdleTaskMemory prototype (linked to static allocation support) */
void vApplicationGetIdleTaskMemory( StaticTask_t **ppxIdleTaskTCBBuffer, StackType_t **ppxIdleTaskStackBuffer, uint32_t *pulIdleTaskStackSize );

/* USER CODE BEGIN GET_IDLE_TASK_MEMORY */
static StaticTask_t xIdleTaskTCBBuffer;
static StackType_t xIdleStack[configMINIMAL_STACK_SIZE];

void vApplicationGetIdleTaskMemory( StaticTask_t **ppxIdleTaskTCBBuffer, StackType_t **ppxIdleTaskStackBuffer, uint32_t *pulIdleTaskStackSize )
{
  *ppxIdleTaskTCBBuffer = &xIdleTaskTCBBuffer;
  *ppxIdleTaskStackBuffer = &xIdleStack[0];
  *pulIdleTaskStackSize = configMINIMAL_STACK_SIZE;
  /* place for user code */
}
/* USER CODE END GET_IDLE_TASK_MEMORY */

void MX_FREERTOS_Init(void) {

  /* Create the thread(s) */
  /* definition and creation of StartINS_Task */
  osThreadStaticDef(StartINS_Task, INS_Task, osPriorityHigh, 0, 1024, StartINS_TaskBuffer, &StartINS_TaskControlBlock);
  StartINS_TaskHandle = osThreadCreate(osThread(StartINS_Task), NULL);

  /* definition and creation of StartCAN_Task */
  osThreadStaticDef(StartCAN_Task, CAN_Task, osPriorityNormal, 0, 1024, StartCAN_TaskBuffer, &StartCAN_TaskControlBlock);
  StartCAN_TaskHandle = osThreadCreate(osThread(StartCAN_Task), NULL);

  /* definition and creation of StartControl_Task */
  osThreadStaticDef(StartControl_Task, Control_Task, osPriorityAboveNormal, 0, 1024, StartControlBuffer, &StartControlControlBlock);
  StartControl_TaskHandle = osThreadCreate(osThread(StartControl_Task), NULL);

  /* definition and creation of StartMPC_Task */
  osThreadStaticDef(StartMPC_Task, MPC_Task, osPriorityBelowNormal, 0, 1024, StartMPC_TaskBuffer, &StartMPC_TaskControlBlock);
  StartMPC_TaskHandle = osThreadCreate(osThread(StartMPC_Task), NULL);

}

__weak void INS_Task(void const * argument)
{
  for(;;)
  {
    osDelay(1);
  }
}

__weak void CAN_Task(void const * argument)
{
  for(;;)
  {
    osDelay(1);
  }
}

__weak void Control_Task(void const * argument)
{
  for(;;)
  {
    osDelay(1);
  }
}

__weak void MPC_Task(void const * argument)
{
  for(;;)
  {
    osDelay(1);
  }
}
